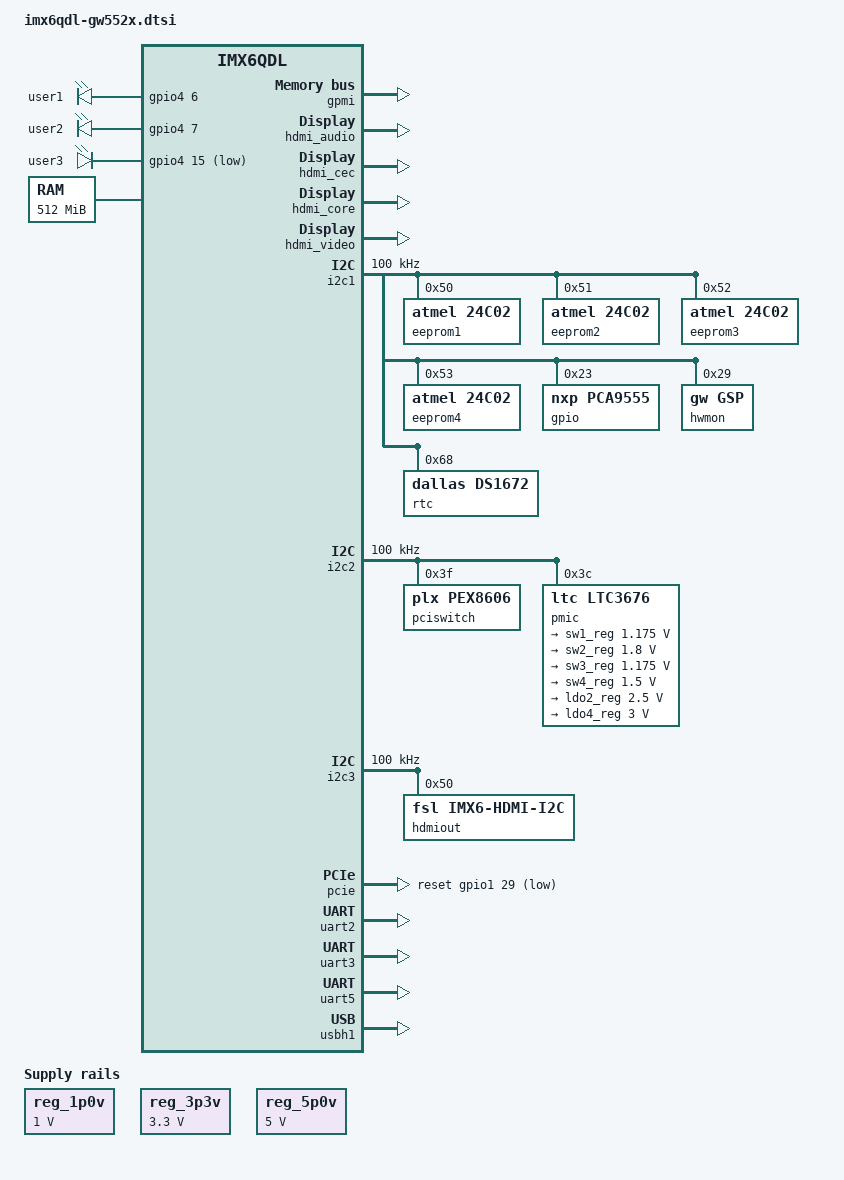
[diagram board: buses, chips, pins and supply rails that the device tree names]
/*
 * Copyright 2014 Gateworks Corporation
 *
 * The code contained herein is licensed under the GNU General Public
 * License. You may obtain a copy of the GNU General Public License
 * Version 2 or later at the following locations:
 *
 * http://www.opensource.org/licenses/gpl-license.html
 * http://www.gnu.org/copyleft/gpl.html
 */

/ {
	/* these are used by bootloader for disabling nodes */
	aliases {
		led0 = &led0;
		led1 = &led1;
		led2 = &led2;
		mxcfb0 = &mxcfb1;
		nand = &gpmi;
		ssi0 = &ssi1;
		usb0 = &usbh1;
		usb1 = &usbotg;
	};

	chosen {
		bootargs = "console=ttymxc1,115200";
	};

	leds {
		compatible = "gpio-leds";

		led0: user1 { /* MX6_PANLEDG */
			label = "user1";
			gpios = <&gpio4 6 GPIO_ACTIVE_HIGH>;
			default-state = "on";
			linux,default-trigger = "heartbeat";
		};

		led1: user2 { /* MX6_PANLEDR */
			label = "user2";
			gpios = <&gpio4 7 GPIO_ACTIVE_HIGH>;
			default-state = "off";
		};

		led2: user3 { /* MX6_LOCLED# */
			label = "user3";
			gpios = <&gpio4 15 GPIO_ACTIVE_LOW>;
			default-state = "off";
		};
	};

	memory {
		reg = <0x10000000 0x20000000>;
	};

	regulators {
		compatible = "simple-bus";

		reg_1p0v: 1p0v {
			compatible = "regulator-fixed";
			regulator-name = "1P0V";
			regulator-min-microvolt = <1000000>;
			regulator-max-microvolt = <1000000>;
			regulator-always-on;
		};

		reg_3p3v: 3p3v {
			compatible = "regulator-fixed";
			regulator-name = "3P3V";
			regulator-min-microvolt = <3300000>;
			regulator-max-microvolt = <3300000>;
			regulator-always-on;
		};

		reg_5p0v: 5p0v {
			compatible = "regulator-fixed";
			regulator-name = "5P0V";
			regulator-min-microvolt = <5000000>;
			regulator-max-microvolt = <5000000>;
			regulator-always-on;
		};
	};

	sound {
		compatible = "fsl,imx6q-audio-hdmi",
			     "fsl,imx-audio-hdmi";
		model = "imx-audio-hdmi";
		hdmi-controller = <&hdmi_audio>;
	};

	mxcfb1: fb@0 {
		/* hdmi */
		compatible = "fsl,mxc_sdc_fb";
		disp_dev = "hdmi";
		interface_pix_fmt = "RGB24";
		mode_str ="1920x1080M@60";
		default_bpp = <24>;
		int_clk = <0>;
		late_init = <0>;
		status = "okay";
	};

	v4l2_out {
		compatible = "fsl,mxc_v4l2_output";
		status = "okay";
	};
};

&cpu0 {
/* enable once ltc3676 driver available
	arm-supply = <&sw1_reg>;
	soc-supply = <&sw3_reg>;
*/
	pu-supply = <&reg_pu>; /* use pu_dummy if VDDSOC share with VDDPU */
};

&gpc {
	fsl,cpu_pupscr_sw2iso = <0xf>;
	fsl,cpu_pupscr_sw = <0xf>;
	fsl,cpu_pdnscr_iso2sw = <0x1>;
	fsl,cpu_pdnscr_iso = <0x1>;
	fsl,ldo-bypass = <1>; /* use ldo-bypass, u-boot will check it and configure */
	fsl,wdog-reset = <2>; /* watchdog select of reset source */
	pu-supply = <&reg_pu>; /* ldo-bypass:use pu_dummy if VDDSOC share with VDDPU */
};

&gpmi {
	pinctrl-names = "default";
	pinctrl-0 = <&pinctrl_gpmi_nand_2>;
	status = "okay";
};

&gpu {
	pu-supply = <&reg_pu>; /* ldo-bypass:use pu_dummy if VDDSOC share with VDDPU */
};

&hdmi_audio {
	status = "okay";
};

&hdmi_cec {
	pinctrl-names = "default";
	pinctrl-0 = <&pinctrl_hdmi_cec_1>;
	status = "okay";
};

&hdmi_core {
	ipu_id = <0>;
	disp_id = <1>;
	status = "okay";
};

&hdmi_video {
	fsl,phy_reg_vlev = <0x0294>;
	fsl,phy_reg_cksymtx = <0x800d>;
	status = "okay";
};

&i2c1 {
	clock-frequency = <100000>;
	pinctrl-names = "default";
	pinctrl-0 = <&pinctrl_i2c1_1>;
	status = "okay";

	eeprom1: eeprom@50 {
		compatible = "atmel,24c02";
		reg = <0x50>;
		pagesize = <16>;
	};

	eeprom2: eeprom@51 {
		compatible = "atmel,24c02";
		reg = <0x51>;
		pagesize = <16>;
	};

	eeprom3: eeprom@52 {
		compatible = "atmel,24c02";
		reg = <0x52>;
		pagesize = <16>;
	};

	eeprom4: eeprom@53 {
		compatible = "atmel,24c02";
		reg = <0x53>;
		pagesize = <16>;
	};

	gpio: pca9555@23 {
		compatible = "nxp,pca9555";
		reg = <0x23>;
		gpio-controller;
		#gpio-cells = <2>;
	};

	hwmon: gsc@29 {
		compatible = "gw,gsp";
		reg = <0x29>;
	};

	rtc: ds1672@68 {
		compatible = "dallas,ds1672";
		reg = <0x68>;
	};
};

&i2c2 {
	clock-frequency = <100000>;
	pinctrl-names = "default";
	pinctrl-0 = <&pinctrl_i2c2_2>;
	status = "okay";

	pciswitch: pex8606@3f {
		compatible = "plx,pex8606";
		reg = <0x3f>;
	};

	pmic: ltc3676@3c {
		compatible = "ltc,ltc3676";
		reg = <0x3c>;

		regulators {
			sw1_reg: ltc3676__sw1 {
				regulator-min-microvolt = <1175000>;
				regulator-max-microvolt = <1175000>;
				regulator-boot-on;
				regulator-always-on;
			};

			sw2_reg: ltc3676__sw2 {
				regulator-min-microvolt = <1800000>;
				regulator-max-microvolt = <1800000>;
				regulator-boot-on;
				regulator-always-on;
			};

			sw3_reg: ltc3676__sw3 {
				regulator-min-microvolt = <1175000>;
				regulator-max-microvolt = <1175000>;
				regulator-boot-on;
				regulator-always-on;
			};

			sw4_reg: ltc3676__sw4 {
				regulator-min-microvolt = <1500000>;
				regulator-max-microvolt = <1500000>;
				regulator-boot-on;
				regulator-always-on;
			};

			ldo2_reg: ltc3676__ldo2 {
				regulator-min-microvolt = <2500000>;
				regulator-max-microvolt = <2500000>;
				regulator-boot-on;
				regulator-always-on;
			};

			ldo4_reg: ltc3676__ldo4 {
				regulator-min-microvolt = <3000000>;
				regulator-max-microvolt = <3000000>;
			};
		};
	};
};

&i2c3 {
	clock-frequency = <100000>;
	pinctrl-names = "default";
	pinctrl-0 = <&pinctrl_i2c3_2>;
	status = "okay";

	hdmiout: edid@50 {
		compatible = "fsl,imx6-hdmi-i2c";
		reg = <0x50>;
	};
};

&iomuxc {
	pinctrl-names = "default";
	pinctrl-0 = <&pinctrl_hog>;

	hog {
		pinctrl_hog: hoggrp {
			fsl,pins = <
				MX6QDL_PAD_ENET_TXD1__GPIO1_IO29  0x80000000 /* PCIE_RST# */
				MX6QDL_PAD_GPIO_9__GPIO1_IO09     0x80000000 /* USBHUB_RST# */
				MX6QDL_PAD_GPIO_17__GPIO7_IO12    0x80000000 /* PCIESKT_WDIS# */
				MX6QDL_PAD_KEY_COL0__GPIO4_IO06   0x80000000 /* user1 led */
				MX6QDL_PAD_KEY_ROW0__GPIO4_IO07   0x80000000 /* user2 led */
				MX6QDL_PAD_KEY_ROW4__GPIO4_IO15   0x80000000 /* user3 led */
			 >;
		};
	};
};

&pcie {
	reset-gpio = <&gpio1 29 GPIO_ACTIVE_LOW>;
	status = "okay";
};

&pwm2 {
	pinctrl-names = "default";
	pinctrl-0 = <&pinctrl_pwm2_1>; /* MX6_DIO1 */
	status = "disabled";
};

&pwm3 {
	pinctrl-names = "default";
	pinctrl-0 = <&pinctrl_pwm3_1>; /* MX6_DIO2 */
	status = "disabled";
};

&uart2 {
	pinctrl-names = "default";
	pinctrl-0 = <&pinctrl_uart2_3>;
	status = "okay";
};

&uart3 {
	pinctrl-names = "default";
	pinctrl-0 = <&pinctrl_uart3_2>;
	status = "okay";
};

&uart5 {
	pinctrl-names = "default";
	pinctrl-0 = <&pinctrl_uart5_1>;
	status = "okay";
};

&usbh1 {
	status = "okay";
};

&vpu {
	pu-supply = <&reg_pu>; /* ldo-bypass:use pu_dummy if VDDSOC share with VDDPU */
};
